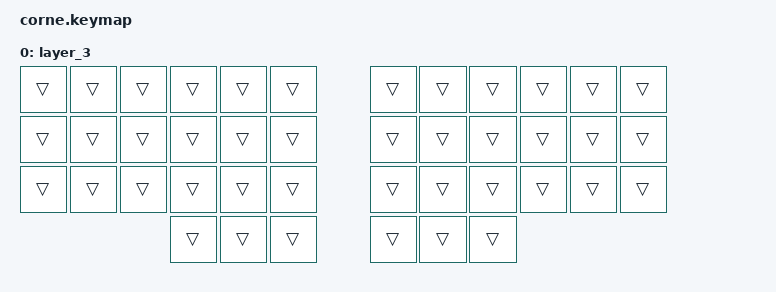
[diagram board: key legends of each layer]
/*
 * Copyright (c) 2020 The ZMK Contributors
 *
 * SPDX-License-Identifier: MIT
 */

#include <behaviors.dtsi>
#include <dt-bindings/zmk/keys.h>

/ {
    keymap {
        compatible = "zmk,keymap";

        layer_3 {
            bindings = <
&trans  &kp Q  &kp W  &kp F     &kp P     &kp B        &kp J      &kp L   &kp U      &kp Y    &kp SEMI  &trans
&trans  &kp A  &kp R  &kp S     &kp T     &kp G        &kp M      &kp N   &kp E      &kp I    &kp O     &trans
&trans  &kp Z  &kp X  &kp C     &kp D     &kp V        &kp K      &kp H   &kp COMMA  &kp DOT  &kp FSLH  &trans
                      &kp LGUI  &kp LALT  &kp SPACE    &kp ENTER  &trans  &trans
            >;
        };

        layer_3 {
            bindings = <
&trans  &trans  &trans  &trans  &trans  &trans    &trans  &trans  &trans  &trans  &trans  &trans
&trans  &trans  &trans  &trans  &trans  &trans    &trans  &trans  &trans  &trans  &trans  &trans
&trans  &trans  &trans  &trans  &trans  &trans    &trans  &trans  &trans  &trans  &trans  &trans
                        &trans  &trans  &trans    &trans  &trans  &trans
            >;
        };
    };
};
